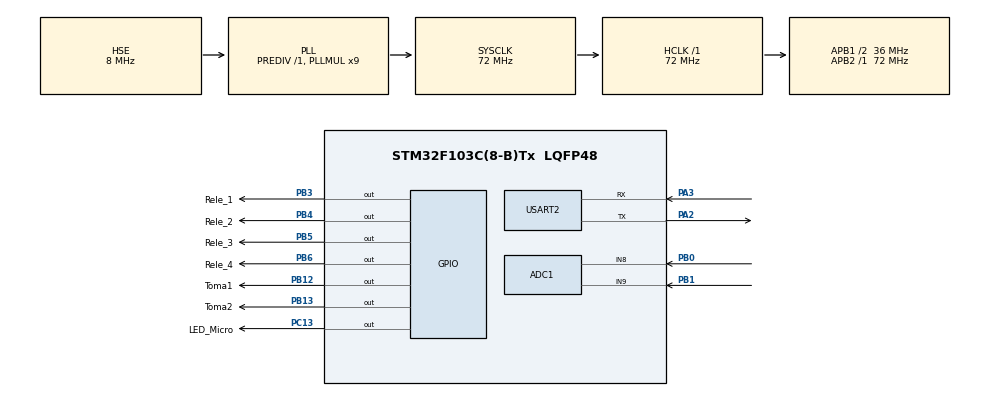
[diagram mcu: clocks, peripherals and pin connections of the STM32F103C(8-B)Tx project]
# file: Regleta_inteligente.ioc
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ADC1.Channel-0\#ChannelRegularConversion=ADC_CHANNEL_8
ADC1.Channel-1\#ChannelRegularConversion=ADC_CHANNEL_9
ADC1.ContinuousConvMode=ENABLE
ADC1.NbrOfConversion=2
ADC1.NbrOfConversionFlag=1
ADC1.Rank-0\#ChannelRegularConversion=1
ADC1.Rank-1\#ChannelRegularConversion=2
ADC1.SamplingTime-0\#ChannelRegularConversion=ADC_SAMPLETIME_239CYCLES_5
ADC1.SamplingTime-1\#ChannelRegularConversion=ADC_SAMPLETIME_239CYCLES_5
ADC1.master=1
Dma.ADC1.0.Direction=DMA_PERIPH_TO_MEMORY
Dma.ADC1.0.Instance=DMA1_Channel1
Dma.ADC1.0.MemDataAlignment=DMA_MDATAALIGN_WORD
Dma.ADC1.0.MemInc=DMA_MINC_ENABLE
Dma.ADC1.0.Mode=DMA_CIRCULAR
Dma.ADC1.0.PeriphDataAlignment=DMA_PDATAALIGN_WORD
Dma.ADC1.0.PeriphInc=DMA_PINC_DISABLE
Dma.ADC1.0.Priority=DMA_PRIORITY_LOW
Dma.Request0=ADC1
Mcu.Family=STM32F1
Mcu.Name=STM32F103C(8-B)Tx
Mcu.Package=LQFP48
NVIC.DMA1_Channel1_IRQn=true\:0\:0\:false\:false\:true\:false\:true
NVIC.PriorityGroup=NVIC_PRIORITYGROUP_4
NVIC.USART2_IRQn=true\:0\:0\:false\:false\:true\:true\:true
PA13.Mode=Serial_Wire
PA13.Signal=SYS_JTMS-SWDIO
PA14.Mode=Serial_Wire
PA14.Signal=SYS_JTCK-SWCLK
PA2.Mode=Asynchronous
PA2.Signal=USART2_TX
PA3.Mode=Asynchronous
PA3.Signal=USART2_RX
PB0.Signal=ADCx_IN8
PB1.Signal=ADCx_IN9
PB12.GPIO_Label=Toma1
PB12.Signal=GPIO_Output
PB13.GPIO_Label=Toma2
PB13.Signal=GPIO_Output
PB3.GPIO_Label=Rele_1
PB3.Signal=GPIO_Output
PB4.GPIO_Label=Rele_2
PB4.Signal=GPIO_Output
PB5.GPIO_Label=Rele_3
PB5.Signal=GPIO_Output
PB6.GPIO_Label=Rele_4
PB6.Signal=GPIO_Output
PC13-TAMPER-RTC.GPIO_Label=LED_Micro 
PC13-TAMPER-RTC.Signal=GPIO_Output
PC14-OSC32_IN.Mode=LSE-External-Oscillator
PC14-OSC32_IN.Signal=RCC_OSC32_IN
PC15-OSC32_OUT.Mode=LSE-External-Oscillator
PC15-OSC32_OUT.Signal=RCC_OSC32_OUT
PD0-OSC_IN.Mode=HSE-External-Oscillator
PD0-OSC_IN.Signal=RCC_OSC_IN
PD1-OSC_OUT.Mode=HSE-External-Oscillator
PD1-OSC_OUT.Signal=RCC_OSC_OUT
ProjectManager.HeapSize=0x200
ProjectManager.StackSize=0x400
ProjectManager.TargetToolchain=STM32CubeIDE
RCC.ADCPresc=RCC_ADCPCLK2_DIV6
RCC.AHBFreq_Value=72000000
RCC.APB1CLKDivider=RCC_HCLK_DIV2
RCC.APB1Freq_Value=36000000
RCC.APB1TimFreq_Value=72000000
RCC.APB2Freq_Value=72000000
RCC.APB2TimFreq_Value=72000000
RCC.HCLKFreq_Value=72000000
RCC.PLLMUL=RCC_PLL_MUL9
RCC.PLLSourceVirtual=RCC_PLLSOURCE_HSE
RCC.SYSCLKFreq_VALUE=72000000
RCC.SYSCLKSource=RCC_SYSCLKSOURCE_PLLCLK
RCC.USBFreq_Value=72000000
SH.ADCx_IN8.0=ADC1_IN8,IN8
SH.ADCx_IN9.0=ADC1_IN9,IN9
USART2.VirtualMode=VM_ASYNC
board=custom

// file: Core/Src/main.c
/* USER CODE BEGIN Header */
/**
  ******************************************************************************
  * @file           : main.c
  * @brief          : Main program body
  ******************************************************************************
  * @attention
  *
  * <h2><center>&copy; Copyright (c) 2023 STMicroelectronics.
  * All rights reserved.</center></h2>
  *
  * This software component is licensed by ST under BSD 3-Clause license,
  * the "License"; You may not use this file except in compliance with the
  * License. You may obtain a copy of the License at:
  *                        opensource.org/licenses/BSD-3-Clause
  *
  ******************************************************************************
  */
/* USER CODE END Header */
#include "main.h"

/* USER CODE BEGIN Includes */
#include<ESP_01.h>
/* USER CODE END Includes */

ADC_HandleTypeDef hadc1;
DMA_HandleTypeDef hdma_adc1;

UART_HandleTypeDef huart2;

/* USER CODE BEGIN PV */
char SSID[]="Comprawifi";
char PASSWORD[]="Comprawifi11";
char Broker[]="broker.mqttdashboard.com";
char Cliente[]="Jose0901";
char Topico_recive[]="Esp-01";
char buff[100]="\0";
int  LEDS[4];
uint32_t ADC[2];
uint8_t Rx='\0';
/* USER CODE END PV */

void SystemClock_Config(void);
static void MX_GPIO_Init(void);
static void MX_USART2_UART_Init(void);
static void MX_DMA_Init(void);
static void MX_ADC1_Init(void);

/* USER CODE BEGIN 0 */

void interactionActuators()
{

	if(Rele1==Actuadores.Rele)
	{
		Actuadores.Rele=NA;
		LEDS[0]=Actuadores.valor;
		//HAL_GPIO_WritePin(Rele_1, Rele_1_Pin,Actuadores.valor);
		if(Actuadores.valor)
		{
			FUNC_MQTT_PUBLICAR("B0ON","B0");
		}
		else
		{
			FUNC_MQTT_PUBLICAR("B0OFF","B0");
		}

	}
	else if(Rele2==Actuadores.Rele)
	{
		Actuadores.Rele=NA;
		LEDS[1]=Actuadores.valor;
		//HAL_GPIO_WritePin(Rele_2, Rele_2_Pin,Actuadores.valor);
		if(Actuadores.valor)
		{
			FUNC_MQTT_PUBLICAR("B1ON","B1");
		}
		else
		{
			FUNC_MQTT_PUBLICAR("B1OFF","B1");
		}
	}
	else if(Rele3==Actuadores.Rele)
	{
		Actuadores.Rele=NA;
		LEDS[2]=Actuadores.valor;
		//HAL_GPIO_WritePin(Rele_3, Rele_3_Pin,Actuadores.valor);
		if(Actuadores.valor)
		{
			FUNC_MQTT_PUBLICAR("B2ON","B2");
		}
		else
		{
			FUNC_MQTT_PUBLICAR("B2OFF","B2");
		}
	}
	else if(Rele4==Actuadores.Rele)
	{
		Actuadores.Rele=NA;
		LEDS[3]=Actuadores.valor;
		//HAL_GPIO_WritePin(Rele_4, Rele_4_Pin,Actuadores.valor);
		if(Actuadores.valor)
		{
			FUNC_MQTT_PUBLICAR("B3ON","B3");
		}
		else
		{
			FUNC_MQTT_PUBLICAR("B3OFF","B3");
		}
	}

}

void Reset_Rele()
{

	HAL_GPIO_WritePin(Rele_1_GPIO_Port,Rele_1_Pin, OFF);
	HAL_GPIO_WritePin(Rele_2_GPIO_Port,Rele_2_Pin, OFF);
	HAL_GPIO_WritePin(Rele_3_GPIO_Port,Rele_3_Pin, OFF);
	HAL_GPIO_WritePin(Rele_4_GPIO_Port,Rele_4_Pin, OFF);

}
/* USER CODE END 0 */

int main(void)
{

  /* MCU Configuration--------------------------------------------------------*/

  /* Reset of all peripherals, Initializes the Flash interface and the Systick. */
  HAL_Init();

  /* Configure the system clock */
  SystemClock_Config();

  /* Initialize all configured peripherals */
  MX_GPIO_Init();
  MX_USART2_UART_Init();
  MX_DMA_Init();
  MX_ADC1_Init();
  /* USER CODE BEGIN 2 */
  Actuadores.Rele=NA;
  HAL_GPIO_WritePin(LED_Micro_GPIO_Port,LED_Micro_Pin,OFF);
  Reset_Rele();
  FUNC_ESP_RESET(Reset);
  HAL_UART_Receive_IT(&huart2,&Rx,1);
  HAL_ADC_Start_DMA(&hadc1,ADC,2);

  //FUNC_ESP_INIT(SSID, PASSWORD,Broker,Cliente);
  //FUNC_MQTT_SUBSCRIBIR(Topico_recive);
  /* USER CODE END 2 */

  /* Infinite loop */
  /* USER CODE BEGIN WHILE */
  while (1)
  {

	  if(Flag.INIT)
	  {   HAL_Delay(1000);
		  FUNC_WIFI_CONECTAR(SSID,PASSWORD);
		  if(!Flag.Server_conect)
		  {
			 FUNC_MQTT_CONECTAR_SERVIDOR("broker.hivemq.com","Jose");
		  }
		  if(Flag.Server_conect)
		  {
			  FUNC_MQTT_SUBSCRIBIR("Esp-01");
			  Flag.INIT=0;
		  }
	  }
 	  if(Flag.Server_conect&&Flag.Enviar)
 	  {

 		  Enviar_Esp01(Flag.Enviar);
 		  Flag.Enviar=0;
 	  }
    /* USER CODE END WHILE */

  }
}

void SystemClock_Config(void)
{
  RCC_OscInitTypeDef RCC_OscInitStruct = {0};
  RCC_ClkInitTypeDef RCC_ClkInitStruct = {0};
  RCC_PeriphCLKInitTypeDef PeriphClkInit = {0};

  /** Initializes the RCC Oscillators according to the specified parameters
  * in the RCC_OscInitTypeDef structure.
  */
  RCC_OscInitStruct.OscillatorType = RCC_OSCILLATORTYPE_HSE;
  RCC_OscInitStruct.HSEState = RCC_HSE_ON;
  RCC_OscInitStruct.HSEPredivValue = RCC_HSE_PREDIV_DIV1;
  RCC_OscInitStruct.HSIState = RCC_HSI_ON;
  RCC_OscInitStruct.PLL.PLLState = RCC_PLL_ON;
  RCC_OscInitStruct.PLL.PLLSource = RCC_PLLSOURCE_HSE;
  RCC_OscInitStruct.PLL.PLLMUL = RCC_PLL_MUL9;
  if (HAL_RCC_OscConfig(&RCC_OscInitStruct) != HAL_OK)
  {
    Error_Handler();
  }
  /** Initializes the CPU, AHB and APB buses clocks
  */
  RCC_ClkInitStruct.ClockType = RCC_CLOCKTYPE_HCLK|RCC_CLOCKTYPE_SYSCLK
                              |RCC_CLOCKTYPE_PCLK1|RCC_CLOCKTYPE_PCLK2;
  RCC_ClkInitStruct.SYSCLKSource = RCC_SYSCLKSOURCE_PLLCLK;
  RCC_ClkInitStruct.AHBCLKDivider = RCC_SYSCLK_DIV1;
  RCC_ClkInitStruct.APB1CLKDivider = RCC_HCLK_DIV2;
  RCC_ClkInitStruct.APB2CLKDivider = RCC_HCLK_DIV1;

  if (HAL_RCC_ClockConfig(&RCC_ClkInitStruct, FLASH_LATENCY_2) != HAL_OK)
  {
    Error_Handler();
  }
  PeriphClkInit.PeriphClockSelection = RCC_PERIPHCLK_ADC;
  PeriphClkInit.AdcClockSelection = RCC_ADCPCLK2_DIV6;
  if (HAL_RCCEx_PeriphCLKConfig(&PeriphClkInit) != HAL_OK)
  {
    Error_Handler();
  }
}

static void MX_ADC1_Init(void)
{

  ADC_ChannelConfTypeDef sConfig = {0};

  /** Common config
  */
  hadc1.Instance = ADC1;
  hadc1.Init.ScanConvMode = ADC_SCAN_ENABLE;
  hadc1.Init.ContinuousConvMode = ENABLE;
  hadc1.Init.DiscontinuousConvMode = DISABLE;
  hadc1.Init.ExternalTrigConv = ADC_SOFTWARE_START;
  hadc1.Init.DataAlign = ADC_DATAALIGN_RIGHT;
  hadc1.Init.NbrOfConversion = 2;
  if (HAL_ADC_Init(&hadc1) != HAL_OK)
  {
    Error_Handler();
  }
  /** Configure Regular Channel
  */
  sConfig.Channel = ADC_CHANNEL_8;
  sConfig.Rank = ADC_REGULAR_RANK_1;
  sConfig.SamplingTime = ADC_SAMPLETIME_239CYCLES_5;
  if (HAL_ADC_ConfigChannel(&hadc1, &sConfig) != HAL_OK)
  {
    Error_Handler();
  }
  /** Configure Regular Channel
  */
  sConfig.Channel = ADC_CHANNEL_9;
  sConfig.Rank = ADC_REGULAR_RANK_2;
  if (HAL_ADC_ConfigChannel(&hadc1, &sConfig) != HAL_OK)
  {
    Error_Handler();
  }

}

static void MX_USART2_UART_Init(void)
{

  huart2.Instance = USART2;
  huart2.Init.BaudRate = 115200;
  huart2.Init.WordLength = UART_WORDLENGTH_8B;
  huart2.Init.StopBits = UART_STOPBITS_1;
  huart2.Init.Parity = UART_PARITY_NONE;
  huart2.Init.Mode = UART_MODE_TX_RX;
  huart2.Init.HwFlowCtl = UART_HWCONTROL_NONE;
  huart2.Init.OverSampling = UART_OVERSAMPLING_16;
  if (HAL_UART_Init(&huart2) != HAL_OK)
  {
    Error_Handler();
  }

}

static void MX_DMA_Init(void)
{

  /* DMA controller clock enable */
  __HAL_RCC_DMA1_CLK_ENABLE();

  /* DMA interrupt init */
  /* DMA1_Channel1_IRQn interrupt configuration */
  HAL_NVIC_SetPriority(DMA1_Channel1_IRQn, 0, 0);
  HAL_NVIC_EnableIRQ(DMA1_Channel1_IRQn);

}

static void MX_GPIO_Init(void)
{
  GPIO_InitTypeDef GPIO_InitStruct = {0};

  /* GPIO Ports Clock Enable */
  __HAL_RCC_GPIOC_CLK_ENABLE();
  __HAL_RCC_GPIOD_CLK_ENABLE();
  __HAL_RCC_GPIOA_CLK_ENABLE();
  __HAL_RCC_GPIOB_CLK_ENABLE();

  /*Configure GPIO pin Output Level */
  HAL_GPIO_WritePin(LED_Micro_GPIO_Port, LED_Micro_Pin, GPIO_PIN_RESET);

  /*Configure GPIO pin Output Level */
  HAL_GPIO_WritePin(GPIOB, Toma1_Pin|Toma2_Pin|Rele_1_Pin|Rele_2_Pin
                          |Rele_3_Pin|Rele_4_Pin, GPIO_PIN_RESET);

  /*Configure GPIO pin : LED_Micro_Pin */
  GPIO_InitStruct.Pin = LED_Micro_Pin;
  GPIO_InitStruct.Mode = GPIO_MODE_OUTPUT_PP;
  GPIO_InitStruct.Pull = GPIO_NOPULL;
  GPIO_InitStruct.Speed = GPIO_SPEED_FREQ_LOW;
  HAL_GPIO_Init(LED_Micro_GPIO_Port, &GPIO_InitStruct);

  /*Configure GPIO pins : Toma1_Pin Toma2_Pin Rele_1_Pin Rele_2_Pin
                           Rele_3_Pin Rele_4_Pin */
  GPIO_InitStruct.Pin = Toma1_Pin|Toma2_Pin|Rele_1_Pin|Rele_2_Pin
                          |Rele_3_Pin|Rele_4_Pin;
  GPIO_InitStruct.Mode = GPIO_MODE_OUTPUT_PP;
  GPIO_InitStruct.Pull = GPIO_NOPULL;
  GPIO_InitStruct.Speed = GPIO_SPEED_FREQ_LOW;
  HAL_GPIO_Init(GPIOB, &GPIO_InitStruct);

}

/* USER CODE BEGIN 4 */
void HAL_UART_RxCpltCallback(UART_HandleTypeDef *huart)
{
	 static int i=0;
	 if(Rx=='\n')
	 {
		 buff[i]='\0';
		 Recibir_Esp01(buff);
		 i=0;
	 }
	 else if(i<100)
	 {
		 buff[i]=Rx;
		 i++;
	 }
	 else
	 {
		 i=0;
	 }

	HAL_UART_Receive_IT(&huart2,&Rx,1);
}
/* USER CODE END 4 */

void Error_Handler(void)
{
  __disable_irq();
  while (1)
  {
  }
}

/************************ (C) COPYRIGHT STMicroelectronics *****END OF FILE****/
